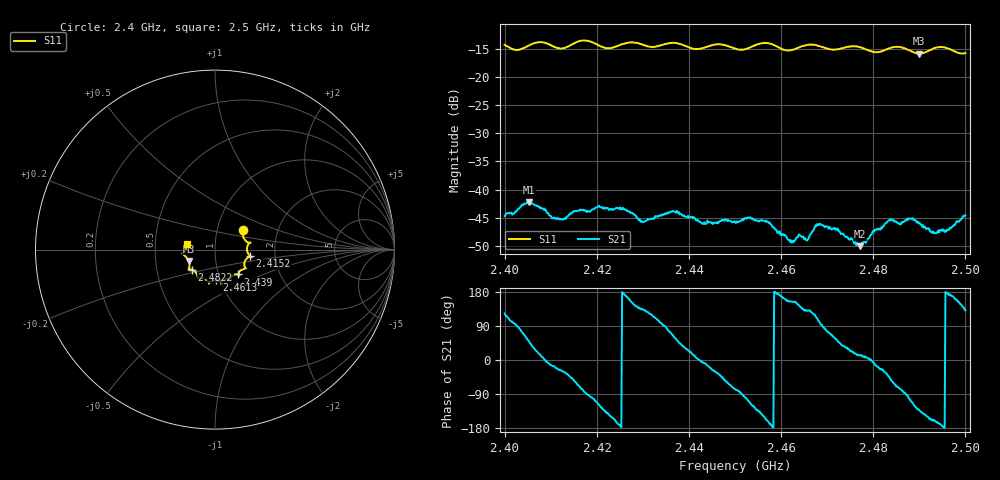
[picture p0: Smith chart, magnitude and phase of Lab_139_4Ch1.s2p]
# Hz S RI R 50
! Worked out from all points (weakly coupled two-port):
!   601 points, 2.4 GHz to 2.5 GHz, reference 50 ohm
!   highest |S21| = -42.19 dB at 2.4053 GHz (marker M1); lowest = -50.0 dB at 2.4772 GHz (marker M2)
!   lowest |S11| = -15.9 dB at 2.49 GHz (marker M3), VSWR 1.38, Z = 36.9 - j4.85 ohm
!   |S11| at or under -10 dB: start of sweep to end of sweep
!   S12 and S22 are empty: the file has one direction only
!   S11 on the Smith chart (normalised r, x): 2.4 GHz: 1.33, +0.31; 2.4152 GHz: 1.48, -0.11; 2.439 GHz: 1.24, -0.36; 2.4613 GHz: 0.96, -0.34; 2.4822 GHz: 0.76, -0.17; 2.5 GHz: 0.72, +0.05
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2.4e9  0.1559 0.1115  -0.00316 0.0049  0 0  0 0
2.405333e9  0.1858 0.0387  0.00512 0.00584  0 0  0 0
2.410833e9  0.1823 0.023  0.00542 -0.00162  0 0  0 0
2.415167e9  0.1951 -0.0367  0.00363 -0.00529  0 0  0 0
2.416667e9  0.2044 -0.0427  0.00154 -0.00641  0 0  0 0
2.422167e9  0.1681 -0.0614  -0.00522 -0.00441  0 0  0 0
2.4255e9  0.1672 -0.099  -0.00665 6.94e-05  0 0  0 0
2.43e9  0.1587 -0.1084  -0.00351 0.00373  0 0  0 0
2.433333e9  0.1324 -0.1323  -0.00145 0.00564  0 0  0 0
2.439e9  0.1284 -0.1386  0.00488 0.0032  0 0  0 0
2.45e9  0.0688 -0.1637  0.00121 -0.005  0 0  0 0
2.456333e9  0.0384 -0.1955  -0.00458 -0.00264  0 0  0 0
2.461333e9  0.00705 -0.1706  -0.00339 0.0014  0 0  0 0
2.4655e9  -0.0332 -0.188  -0.00227 0.00274  0 0  0 0
2.466667e9  -0.0334 -0.1898  -0.00239 0.0034  0 0  0 0
2.468667e9  -0.0346 -0.1816  -0.000277 0.0049  0 0  0 0
2.477167e9  -0.0955 -0.1557  0.00307 0.00071  0 0  0 0
2.482167e9  -0.1279 -0.1119  0.00418 -0.00216  0 0  0 0
2.483333e9  -0.1392 -0.1104  0.00385 -0.00367  0 0  0 0
2.49e9  -0.1468 -0.064  -0.00343 -0.00375  0 0  0 0
2.493333e9  -0.1778 -0.026  -0.00384 -0.00145  0 0  0 0
2.5e9  -0.1585 0.0334  -0.00385 0.00451  0 0  0 0
